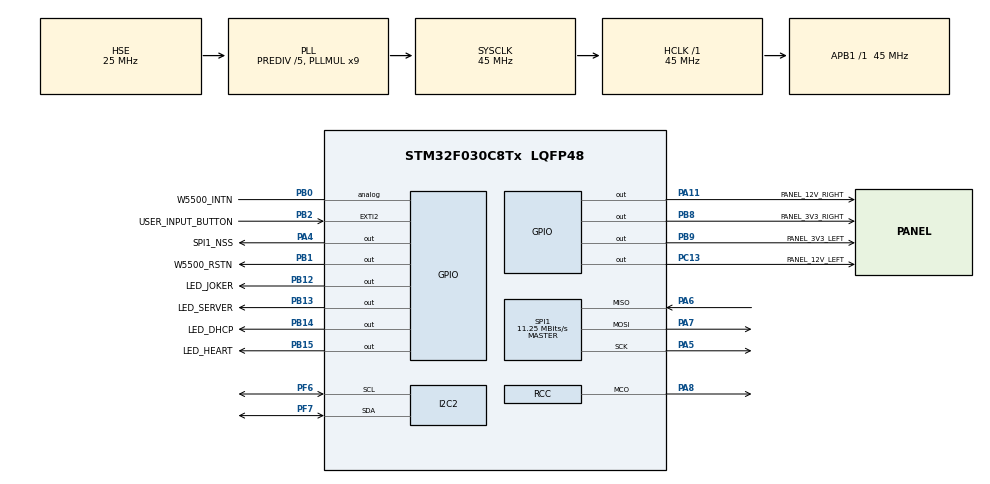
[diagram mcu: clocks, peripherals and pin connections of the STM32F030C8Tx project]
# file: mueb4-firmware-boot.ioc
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CRC.InputDataFormat=CRC_INPUTDATA_FORMAT_WORDS
CRC.InputDataInversionMode=CRC_INPUTDATA_INVERSION_WORD
CRC.OutputDataInversionMode=CRC_OUTPUTDATA_INVERSION_ENABLE
I2C2.I2C_Fall_Time=0
I2C2.I2C_Rise_Time=0
I2C2.Speed=100
I2C2.Timing=0xC0000E12
Mcu.Family=STM32F0
Mcu.Name=STM32F030C8Tx
Mcu.Package=LQFP48
Mcu.UserConstants=PRESCALER,45000 - 1;SECOND,1000 - 1
NVIC.EXTI2_3_IRQn=true\:3\:0\:true\:false\:true\:true\:true\:true
NVIC.TIM6_IRQn=true\:2\:0\:true\:false\:true\:true\:true\:true
PA0.GPIO_Label=PANEL_ADC_3V3_LEFT
PA0.GPIO_Mode=GPIO_MODE_ANALOG
PA0.GPIO_PuPd=GPIO_NOPULL
PA0.Signal=ADC_IN0
PA1.GPIO_Label=PANEL_ADC_3V3_RIGHT
PA1.GPIO_Mode=GPIO_MODE_ANALOG
PA1.GPIO_PuPd=GPIO_NOPULL
PA1.Signal=ADC_IN1
PA10.GPIO_Label=PANEL_RX_RIGHT
PA10.GPIO_PuPd=GPIO_PULLUP
PA10.GPIO_Speed=GPIO_SPEED_FREQ_HIGH
PA10.Signal=USART1_RX
PA11.GPIO_Label=PANEL_12V_RIGHT
PA11.Signal=GPIO_Output
PA13.Mode=Serial_Wire
PA13.Signal=SYS_SWDIO
PA14.Mode=Serial_Wire
PA14.Signal=SYS_SWCLK
PA2.GPIO_Label=PANEL_TX_LEFT
PA2.GPIO_Speed=GPIO_SPEED_FREQ_HIGH
PA2.Signal=USART2_TX
PA3.GPIO_Label=PANEL_RX_LEFT
PA3.GPIO_PuPd=GPIO_PULLUP
PA3.GPIO_Speed=GPIO_SPEED_FREQ_HIGH
PA3.Signal=USART2_RX
PA4.GPIO_Label=SPI1_NSS
PA4.Signal=GPIO_Output
PA5.GPIO_PuPd=GPIO_PULLUP
PA5.GPIO_Speed=GPIO_SPEED_FREQ_HIGH
PA5.Mode=Full_Duplex_Master
PA5.Signal=SPI1_SCK
PA6.GPIO_PuPd=GPIO_PULLUP
PA6.GPIO_Speed=GPIO_SPEED_FREQ_HIGH
PA6.Mode=Full_Duplex_Master
PA6.Signal=SPI1_MISO
PA7.GPIO_PuPd=GPIO_PULLUP
PA7.GPIO_Speed=GPIO_SPEED_FREQ_HIGH
PA7.Mode=Full_Duplex_Master
PA7.Signal=SPI1_MOSI
PA8.Mode=Clock-out
PA8.Signal=RCC_MCO
PA9.GPIO_Label=PANEL_TX_RIGHT
PA9.GPIO_Speed=GPIO_SPEED_FREQ_HIGH
PA9.Signal=USART1_TX
PB0.GPIO_Label=W5500_INTN
PB0.GPIO_Mode=GPIO_MODE_ANALOG
PB0.GPIO_PuPd=GPIO_NOPULL
PB0.Signal=GPIO_Analog
PB1.GPIO_Label=W5500_RSTN
PB1.PinState=GPIO_PIN_SET
PB1.Signal=GPIO_Output
PB12.GPIO_Label=LED_JOKER
PB12.Signal=GPIO_Output
PB13.GPIO_Label=LED_SERVER
PB13.Signal=GPIO_Output
PB14.GPIO_Label=LED_DHCP
PB14.Signal=GPIO_Output
PB15.GPIO_Label=LED_HEART
PB15.Signal=GPIO_Output
PB2.GPIO_Label=USER_INPUT_BUTTON
PB2.GPIO_PuPd=GPIO_PULLUP
PB2.Signal=GPXTI2
PB8.GPIO_Label=PANEL_3V3_RIGHT
PB8.GPIO_Speed=GPIO_SPEED_FREQ_LOW
PB8.PinState=GPIO_PIN_SET
PB8.Signal=GPIO_Output
PB9.GPIO_Label=PANEL_3V3_LEFT
PB9.GPIO_Speed=GPIO_SPEED_FREQ_LOW
PB9.PinState=GPIO_PIN_SET
PB9.Signal=GPIO_Output
PC13.GPIO_Label=PANEL_12V_LEFT
PC13.Signal=GPIO_Output
PF0-OSC_IN.Mode=HSE-External-Oscillator
PF0-OSC_IN.Signal=RCC_OSC_IN
PF1-OSC_OUT.Mode=HSE-External-Oscillator
PF1-OSC_OUT.Signal=RCC_OSC_OUT
PF6.GPIO_Pu=GPIO_PULLUP
PF6.GPIO_Speed=GPIO_SPEED_FREQ_HIGH
PF6.Mode=I2C
PF6.Signal=I2C2_SCL
PF7.GPIO_Pu=GPIO_PULLUP
PF7.GPIO_Speed=GPIO_SPEED_FREQ_HIGH
PF7.Mode=I2C
PF7.Signal=I2C2_SDA
ProjectManager.HeapSize=0x200
ProjectManager.StackSize=0xC00
ProjectManager.TargetToolchain=STM32CubeIDE
RCC.AHBFreq_Value=45000000
RCC.APB1Freq_Value=45000000
RCC.APB1TimFreq_Value=45000000
RCC.EnbaleCSS=true
RCC.HCLKFreq_Value=45000000
RCC.HSE_VALUE=25000000
RCC.PLLDivider=RCC_PREDIV_DIV5
RCC.PLLMUL=RCC_PLL_MUL9
RCC.PLLSourceVirtual=RCC_PLLSOURCE_HSE
RCC.RCC_MCOSource=RCC_MCO1SOURCE_HSE
RCC.SYSCLKFreq_VALUE=45000000
RCC.SYSCLKSource=RCC_SYSCLKSOURCE_PLLCLK
RCC.Usart1ClockSelection=RCC_USART1CLKSOURCE_HSI
SPI1.BaudRatePrescaler=SPI_BAUDRATEPRESCALER_4
SPI1.CLKPolarity=SPI_POLARITY_LOW
SPI1.CalculateBaudRate=11.25 MBits/s
SPI1.DataSize=SPI_DATASIZE_8BIT
SPI1.Direction=SPI_DIRECTION_2LINES
SPI1.Mode=SPI_MODE_MASTER
SPI1.NSSPMode=SPI_NSS_PULSE_DISABLE
SPI1.VirtualType=VM_MASTER
TIM6.Period=SECOND
TIM6.Prescaler=PRESCALER
VP_CRC_VS_CRC.Mode=CRC_Activate
VP_TIM6_VS_ClockSourceINT.Mode=Enable_Timer
board=mueb4-firmware

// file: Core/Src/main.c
/* USER CODE BEGIN Header */
/**
  ******************************************************************************
  * @file           : main.c
  * @brief          : Main program body
  ******************************************************************************
  * @attention
  *
  * Copyright (c) 2026 STMicroelectronics.
  * All rights reserved.
  *
  * This software is licensed under terms that can be found in the LICENSE file
  * in the root directory of this software component.
  * If no LICENSE file comes with this software, it is provided AS-IS.
  *
  ******************************************************************************
  */
/* USER CODE END Header */
#include "main.h"
#include "crc.h"
#include "i2c.h"
#include "spi.h"
#include "tim.h"
#include "gpio.h"

/* USER CODE BEGIN Includes */
#include <stdint.h>
/* USER CODE END Includes */

/* USER CODE BEGIN PV */
extern uint32_t _app_address[];
extern volatile uint32_t firmware_update_enabler;
/* USER CODE END PV */

void SystemClock_Config(void);
/* USER CODE BEGIN PFP */
void FirmwareUpdater(void);
/* USER CODE END PFP */

int main(void)
{

  /* MCU Configuration--------------------------------------------------------*/

  /* Reset of all peripherals, Initializes the Flash interface and the Systick. */
  HAL_Init();

  /* Configure the system clock */
  SystemClock_Config();

  /* Initialize all configured peripherals */
  MX_GPIO_Init();
  MX_TIM6_Init();
  MX_I2C2_Init();
  MX_SPI1_Init();
  MX_CRC_Init();
  /* USER CODE BEGIN 2 */
  HAL_TIM_Base_Start_IT(&htim6);

  // Wait for user button(enters firmware updater)
  HAL_Delay(1000u);

  // Button window is over, the update cannot be triggered again
  HAL_NVIC_DisableIRQ(EXTI2_3_IRQn);

  /* Test if user code is programmed starting from address "(uint32_t)_appaddr" or firmware update is enabled */
  if (((*(__IO uint32_t *)(uint32_t)_app_address) & 0x2FFE0000) != 0x20000000 ||
      firmware_update_enabler == FIRMWARE_UPDATE_MAGIC) {
    firmware_update_enabler = 0u;
    FirmwareUpdater();
  } else {
    __disable_irq();

    // Resets every peripheral (APB1, APB2, AHB GPIO), the app initializes
    // them again. The clock configuration stays, the app's
    // SystemClock_Config() needs the same PLL setting as the bootloader's.
    HAL_DeInit();

    // Not covered by HAL_DeInit(): stop SysTick, disable and clear every
    // interrupt in the NVIC, the app enables the ones it uses.
    // Required: the app overwrites the bootloader's RAM (shared RAM2 region),
    // no bootloader interrupt handler may run after the jump.
    SysTick->CTRL = 0u;
    SCB->ICSR = SCB_ICSR_PENDSTCLR_Msk;
    NVIC->ICER[0] = 0xFFFFFFFFu;
    NVIC->ICPR[0] = 0xFFFFFFFFu;

    /* Initialize user application's Stack Pointer */
    __set_MSP(*(__IO uint32_t *)(uint32_t)_app_address);

    /* Jump to user application */
    ((void (*)(void)) * (__IO uint32_t *)((uint32_t)_app_address + 4u))();
  }
  /* USER CODE END 2 */

  /* Infinite loop */
  while (1) {

  }
}

void SystemClock_Config(void)
{
  RCC_OscInitTypeDef RCC_OscInitStruct = {0};
  RCC_ClkInitTypeDef RCC_ClkInitStruct = {0};

  /** Initializes the RCC Oscillators according to the specified parameters
  * in the RCC_OscInitTypeDef structure.
  */
  RCC_OscInitStruct.OscillatorType = RCC_OSCILLATORTYPE_HSE;
  RCC_OscInitStruct.HSEState = RCC_HSE_ON;
  RCC_OscInitStruct.PLL.PLLState = RCC_PLL_ON;
  RCC_OscInitStruct.PLL.PLLSource = RCC_PLLSOURCE_HSE;
  RCC_OscInitStruct.PLL.PLLMUL = RCC_PLL_MUL9;
  RCC_OscInitStruct.PLL.PREDIV = RCC_PREDIV_DIV5;
  if (HAL_RCC_OscConfig(&RCC_OscInitStruct) != HAL_OK)
  {
    Error_Handler();
  }

  /** Initializes the CPU, AHB and APB buses clocks
  */
  RCC_ClkInitStruct.ClockType = RCC_CLOCKTYPE_HCLK|RCC_CLOCKTYPE_SYSCLK
                              |RCC_CLOCKTYPE_PCLK1;
  RCC_ClkInitStruct.SYSCLKSource = RCC_SYSCLKSOURCE_PLLCLK;
  RCC_ClkInitStruct.AHBCLKDivider = RCC_SYSCLK_DIV1;
  RCC_ClkInitStruct.APB1CLKDivider = RCC_HCLK_DIV1;

  if (HAL_RCC_ClockConfig(&RCC_ClkInitStruct, FLASH_LATENCY_1) != HAL_OK)
  {
    Error_Handler();
  }
  HAL_RCC_MCOConfig(RCC_MCO, RCC_MCO1SOURCE_HSE, RCC_MCODIV_1);

  /** Enables the Clock Security System
  */
  HAL_RCC_EnableCSS();
}

void Error_Handler(void)
{
  /* USER CODE BEGIN Error_Handler_Debug */
  /* User can add his own implementation to report the HAL error return state */
  // Restart instead of halting, put a breakpoint here to debug
  HAL_NVIC_SystemReset();
  /* USER CODE END Error_Handler_Debug */
}
#ifdef USE_FULL_ASSERT
/**
  * @brief  Reports the name of the source file and the source line number
  *         where the assert_param error has occurred.
  * @param  file: pointer to the source file name
  * @param  line: assert_param error line source number
  * @retval None
  */
void assert_failed(uint8_t *file, uint32_t line)
{
  /* USER CODE BEGIN 6 */
  /* User can add his own implementation to report the file name and line
     number,
     ex: printf("Wrong parameters value: file %s on line %d\r\n", file, line) */
  /* USER CODE END 6 */
}
#endif /* USE_FULL_ASSERT */
